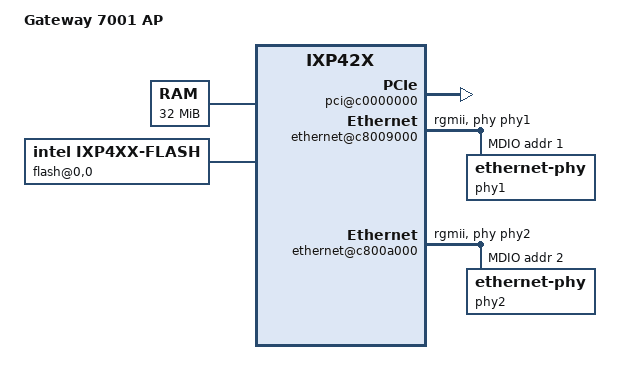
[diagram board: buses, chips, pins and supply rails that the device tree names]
// SPDX-License-Identifier: ISC
/*
 * Device Tree file for Gateway 7001 AP based on IXP422
 * Derived from boardfiles written by Imre Kaloz
 */

/dts-v1/;

#include "intel-ixp42x.dtsi"
#include <dt-bindings/input/input.h>

/ {
	model = "Gateway 7001 AP";
	compatible = "gateway,7001", "intel,ixp42x";
	#address-cells = <1>;
	#size-cells = <1>;

	memory@0 {
		/* 32 MB SDRAM */
		device_type = "memory";
		reg = <0x00000000 0x2000000>;
	};

	chosen {
		bootargs = "console=ttyS0,115200n8";
		stdout-path = "uart1:115200n8";
	};

	aliases {
		/* second UART is the primary console */
		serial0 = &uart1;
	};

	soc {
		bus@c4000000 {
			flash@0,0 {
				compatible = "intel,ixp4xx-flash", "cfi-flash";
				bank-width = <2>;
				/*
				 * 8 MB of flash
				 */
				reg = <0 0x00000000 0x800000>;

				/* Configure expansion bus to allow writes */
				intel,ixp4xx-eb-write-enable = <1>;

				partitions {
					compatible = "redboot-fis";
					/* Eraseblock at 0x7e0000 */
					fis-index-block = <0x3f>;
				};
			};
		};

		pci@c0000000 {
			status = "ok";

			/*
			 * Taken from Gateway 7001 PCI boardfile (gateway7001-pci.c)
			 * We have slots (IDSEL) 1 and 2 with one assigned IRQ
			 * each handling all IRQs.
			 */
			interrupt-map =
			/* IDSEL 1 */
			<0x0800 0 0 1 &gpio0 11 IRQ_TYPE_LEVEL_LOW>, /* INT A on slot 1 is irq 11 */
			<0x0800 0 0 2 &gpio0 11 IRQ_TYPE_LEVEL_LOW>, /* INT B on slot 1 is irq 11 */
			<0x0800 0 0 3 &gpio0 11 IRQ_TYPE_LEVEL_LOW>, /* INT C on slot 1 is irq 11 */
			<0x0800 0 0 4 &gpio0 11 IRQ_TYPE_LEVEL_LOW>, /* INT D on slot 1 is irq 11 */
			/* IDSEL 2 */
			<0x1000 0 0 1 &gpio0 10 IRQ_TYPE_LEVEL_LOW>, /* INT A on slot 2 is irq 10 */
			<0x1000 0 0 2 &gpio0 10 IRQ_TYPE_LEVEL_LOW>, /* INT B on slot 2 is irq 10 */
			<0x1000 0 0 3 &gpio0 10 IRQ_TYPE_LEVEL_LOW>, /* INT C on slot 2 is irq 10 */
			<0x1000 0 0 4 &gpio0 10 IRQ_TYPE_LEVEL_LOW>; /* INT D on slot 2 is irq 10 */
		};

		ethernet@c8009000 {
			status = "ok";
			queue-rx = <&qmgr 3>;
			queue-txready = <&qmgr 20>;
			phy-mode = "rgmii";
			phy-handle = <&phy1>;

			mdio {
				#address-cells = <1>;
				#size-cells = <0>;

				phy1: ethernet-phy@1 {
					reg = <1>;
				};
			};
		};

		ethernet@c800a000 {
			status = "ok";
			queue-rx = <&qmgr 4>;
			queue-txready = <&qmgr 21>;
			phy-mode = "rgmii";
			phy-handle = <&phy2>;

			mdio {
				#address-cells = <1>;
				#size-cells = <0>;

				phy2: ethernet-phy@2 {
					reg = <2>;
				};
			};
		};
	};
};
